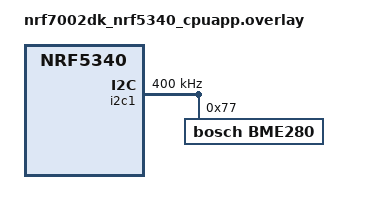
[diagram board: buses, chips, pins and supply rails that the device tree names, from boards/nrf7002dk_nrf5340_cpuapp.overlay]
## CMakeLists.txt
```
# SPDX-License-Identifier: Apache-2.0

cmake_minimum_required(VERSION 3.20.0)
find_package(Zephyr REQUIRED HINTS $ENV{ZEPHYR_BASE})
project(bme280_sanity)

target_sources(app PRIVATE src/main.c)
```

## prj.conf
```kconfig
# Ztest framework
CONFIG_ZTEST=y
CONFIG_ZTEST_ASSERT_VERBOSE=1
CONFIG_GPIO=y
# I2C and Sensor
CONFIG_I2C=y
CONFIG_SENSOR=y
CONFIG_BME280=y

# Logging
CONFIG_LOG=y
CONFIG_LOG_DEFAULT_LEVEL=3
```

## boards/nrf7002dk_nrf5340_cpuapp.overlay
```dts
&i2c1 {
    compatible = "nordic,nrf-twim";
    status = "okay";
    clock-frequency = <I2C_BITRATE_FAST>;
    
    bme280: bme280@77 {
        compatible = "bosch,bme280";
        reg = <0x77>;
        status = "okay";
    };
};
```

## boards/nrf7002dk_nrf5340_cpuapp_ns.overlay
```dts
/ {
    aliases {
        led5180 = &led1;
        button5180 = &button1;
    };
};

&arduino_i2c {
    status = "okay";
    clock-frequency = <I2C_BITRATE_FAST>;
    
    bme280: bme280@77 {
        compatible = "bosch,bme280";
        reg = <0x77>;
        status = "okay";
    };
};
```

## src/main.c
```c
#include <zephyr/ztest.h>
#include <zephyr/device.h>
#include <zephyr/devicetree.h>
#include <zephyr/drivers/sensor.h>
#include <zephyr/drivers/i2c.h>

/* 获取 BME280 设备 */
#define BME280_NODE DT_NODELABEL(bme280)

/* 测试 1: 检查设备树中是否存在 BME280 节点 */
ZTEST(bme280_sanity, test_devicetree_exists)
{
    zassert_true(DT_NODE_EXISTS(BME280_NODE), 
                 "BME280 node does not exist in devicetree");
    
    zassert_true(DT_NODE_HAS_STATUS(BME280_NODE, okay), 
                 "BME280 node is not enabled in devicetree");
}

/* 测试 2: 检查 BME280 设备是否就绪 */
ZTEST(bme280_sanity, test_device_ready)
{
    const struct device *bme280_dev = DEVICE_DT_GET(BME280_NODE);
    
    zassert_not_null(bme280_dev, 
                     "Failed to get BME280 device");
    
    zassert_true(device_is_ready(bme280_dev), 
                 "BME280 device is not ready");
}

/* 测试 3: 检查 I2C 总线是否就绪 */
ZTEST(bme280_sanity, test_i2c_ready)
{
    const struct device *i2c_dev = DEVICE_DT_GET(DT_NODELABEL(arduino_i2c));
    
    zassert_not_null(i2c_dev, 
                     "Failed to get I2C device");
    
    zassert_true(device_is_ready(i2c_dev), 
                 "I2C bus is not ready");
}

/* 测试 4: 尝试从 BME280 读取传感器数据 */
ZTEST(bme280_sanity, test_sensor_fetch)
{
    const struct device *bme280_dev = DEVICE_DT_GET(BME280_NODE);
    struct sensor_value temp, press, humidity;
    int rc;
    
    /* 跳过如果设备未就绪 */
    zassert_true(device_is_ready(bme280_dev), 
                 "Device not ready");
    
    /* 尝试获取传感器数据 */
    rc = sensor_sample_fetch(bme280_dev);
    zassert_equal(rc, 0, 
                  "sensor_sample_fetch failed with error %d", rc);
    
    /* 尝试读取温度 */
    rc = sensor_channel_get(bme280_dev, SENSOR_CHAN_AMBIENT_TEMP, &temp);
    zassert_equal(rc, 0, 
                  "Failed to get temperature channel");
    
    /* 尝试读取湿度 */
    rc = sensor_channel_get(bme280_dev, SENSOR_CHAN_HUMIDITY, &humidity);
    zassert_equal(rc, 0, 
                  "Failed to get humidity channel");
    
    /* 尝试读取气压 */
    rc = sensor_channel_get(bme280_dev, SENSOR_CHAN_PRESS, &press);
    zassert_equal(rc, 0, 
                  "Failed to get pressure channel");
    
    /* 打印读取的值（用于调试） */
    printk("Temperature: %d.%06d C\n", temp.val1, temp.val2);
    printk("Humidity: %d.%06d %%\n", humidity.val1, humidity.val2);
    printk("Pressure: %d.%06d kPa\n", press.val1, press.val2);
}

/* 注册测试套件 */
ZTEST_SUITE(bme280_sanity, NULL, NULL, NULL, NULL, NULL);
```
